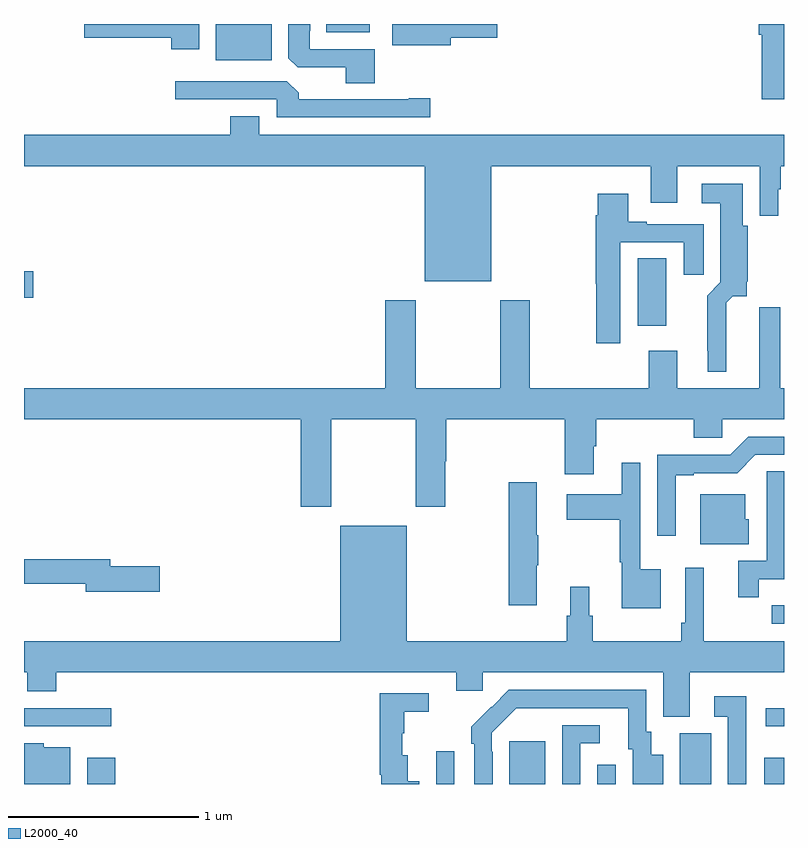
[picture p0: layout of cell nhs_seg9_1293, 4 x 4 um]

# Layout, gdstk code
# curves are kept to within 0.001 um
import gdstk
lib = gdstk.Library(unit=1e-6, precision=1e-09)
def R(c, l, rs):  # rectangles x0, y0, x1, y1
    for r in rs: c.add(gdstk.rectangle(r[:2], r[2:], *l))
def P(c, l, *ps):  # polygons
    for p in ps: c.add(gdstk.Polygon(p, *l))
L2000_40 = (2000, 40)

nhs_seg9_1293 = lib.new_cell('nhs_seg9_1293')
R(nhs_seg9_1293, L2000_40, [(183.332,1194.5,183.479,1194.637), (185.169,1194.5,185.265,1194.673), (185.555,1194.5,185.743,1194.724), (186.018,1194.5,186.114,1194.601), (186.452,1194.5,186.616,1194.768), (186.896,1194.5,187,1194.637), (183,1194.804,183.46,1194.9), (186.903,1194.804,187,1194.9), (186.936,1195.344,187,1195.44), (186.23,1196.913,186.379,1197.266), (183,1197.058,183.049,1197.2), (184.01,1198.31,184.303,1198.5), (184.592,1198.457,184.819,1198.5)])
P(nhs_seg9_1293, L2000_40, [(184.847,1198.368),(184.503,1198.368),(184.503,1198.465),(184.507,1198.465),(184.507,1198.5),(184.391,1198.5),(184.391,1198.321),(184.44,1198.272),(184.694,1198.272),(184.694,1198.189),(184.847,1198.189)],
  [(185.245,1198.427),(185.491,1198.427),(185.491,1198.5),(184.938,1198.5),(184.938,1198.388),(185.245,1198.388)],
  [(187,1198.5),(186.866,1198.5),(186.866,1198.443),(186.884,1198.443),(186.884,1198.104),(187,1198.104)],
  [(183.922,1198.5),(183.318,1198.5),(183.318,1198.427),(183.776,1198.427),(183.776,1198.368),(183.922,1198.368)],
  [(185.137,1198.109),(185.024,1198.109),(185.024,1198.104),(184.445,1198.104),(184.445,1198.138),(184.383,1198.2),(183.795,1198.2),(183.795,1198.104),(184.329,1198.104),(184.329,1198.008),(185.137,1198.008)],
  [(185.458,1197.752),(186.299,1197.752),(186.299,1197.558),(186.439,1197.558),(186.439,1197.752),(186.873,1197.752),(186.873,1197.492),(186.97,1197.492),(186.97,1197.63),(186.982,1197.63),(186.982,1197.752),(187,1197.752),(187,1197.916),(184.237,1197.916),(184.237,1198.015),(184.085,1198.015),(184.085,1197.916),(183,1197.916),(183,1197.752),(185.108,1197.752),(185.108,1197.146),(185.458,1197.146)],
  [(186.697,1197.032),(186.73,1197.066),(186.804,1197.066),(186.804,1197.141),(186.81,1197.147),(186.809,1197.438),(186.784,1197.438),(186.784,1197.658),(186.567,1197.658),(186.567,1197.557),(186.665,1197.557),(186.665,1197.14),(186.595,1197.07),(186.595,1196.779),(186.599,1196.779),(186.599,1196.669),(186.697,1196.669)],
  [(186.139,1197.351),(186.473,1197.351),(186.473,1197.18),(186.577,1197.18),(186.577,1197.447),(186.277,1197.447),(186.277,1197.46),(186.181,1197.46),(186.181,1197.607),(186.02,1197.607),(186.02,1197.494),(186.008,1197.494),(186.008,1197.132),(186.013,1197.132),(186.013,1196.82),(186.139,1196.82)],
  [(184.617,1196.42),(185.062,1196.42),(185.062,1195.959),(185.217,1195.959),(185.217,1196.198),(185.222,1196.198),(185.222,1196.42),(185.846,1196.42),(185.846,1196.13),(185.998,1196.13),(185.998,1196.278),(186.011,1196.278),(186.011,1196.42),(186.524,1196.42),(186.524,1196.322),(186.675,1196.322),(186.675,1196.42),(187,1196.42),(187,1196.584),(186.979,1196.584),(186.979,1197.01),(186.869,1197.01),(186.869,1196.584),(186.439,1196.584),(186.439,1196.779),(186.287,1196.779),(186.287,1196.584),(185.661,1196.584),(185.661,1197.046),(185.506,1197.046),(185.506,1196.584),(185.061,1196.584),(185.061,1197.046),(184.901,1197.046),(184.901,1196.584),(183,1196.584),(183,1196.42),(184.457,1196.42),(184.457,1195.959),(184.617,1195.959)],
  [(186.43,1196.124),(186.526,1196.124),(186.526,1196.136),(186.753,1196.136),(186.849,1196.232),(187,1196.232),(187,1196.328),(186.813,1196.328),(186.717,1196.232),(186.333,1196.232),(186.333,1195.806),(186.43,1195.806)],
  [(186.352,1195.63),(186.243,1195.63),(186.243,1196.191),(186.146,1196.191),(186.146,1196.026),(185.856,1196.026),(185.856,1195.892),(186.135,1195.892),(186.135,1195.668),(186.146,1195.668),(186.146,1195.424),(186.352,1195.424)],
  [(186.866,1195.578),(187,1195.578),(187,1196.147),(186.909,1196.147),(186.909,1196.036),(186.908,1196.036),(186.908,1195.674),(186.758,1195.674),(186.758,1195.482),(186.866,1195.482)],
  [(185.698,1195.652),(185.706,1195.652),(185.706,1195.808),(185.698,1195.808),(185.698,1196.089),(185.552,1196.089),(185.552,1195.44),(185.698,1195.44)],
  [(186.814,1195.893),(186.796,1195.893),(186.796,1196.026),(186.56,1196.026),(186.56,1195.763),(186.814,1195.763)],
  [(186.505,1195.088),(187,1195.088),(187,1195.252),(186.578,1195.252),(186.578,1195.639),(186.48,1195.639),(186.48,1195.348),(186.46,1195.348),(186.46,1195.252),(185.993,1195.252),(185.993,1195.386),(185.974,1195.386),(185.974,1195.537),(185.876,1195.537),(185.876,1195.386),(185.857,1195.386),(185.857,1195.252),(185.014,1195.252),(185.014,1195.858),(184.664,1195.858),(184.664,1195.252),(183,1195.252),(183,1195.088),(183.017,1195.088),(183.017,1194.989),(183.17,1194.989),(183.17,1195.088),(185.276,1195.088),(185.276,1194.99),(185.415,1194.99),(185.415,1195.088),(186.365,1195.088),(186.365,1194.853),(186.505,1194.853)],
  [(183.715,1195.646),(183.454,1195.646),(183.454,1195.682),(183,1195.682),(183,1195.554),(183.326,1195.554),(183.326,1195.511),(183.715,1195.511)],
  [(185.466,1194.671),(185.463,1194.671),(185.463,1194.771),(185.592,1194.9),(186.179,1194.9),(186.179,1194.684),(186.203,1194.684),(186.203,1194.5),(186.364,1194.5),(186.364,1194.655),(186.301,1194.655),(186.301,1194.774),(186.276,1194.774),(186.276,1194.996),(185.552,1194.996),(185.355,1194.801),(185.355,1194.713),(185.37,1194.713),(185.37,1194.5),(185.466,1194.5)],
  [(185.08,1194.514),(185.02,1194.514),(185.02,1194.652),(184.991,1194.652),(184.991,1194.767),(185.002,1194.767),(185.002,1194.88),(185.131,1194.88),(185.131,1194.978),(184.873,1194.978),(184.873,1194.548),(184.88,1194.548),(184.88,1194.5),(185.08,1194.5)],
  [(186.801,1194.961),(186.633,1194.961),(186.633,1194.855),(186.705,1194.855),(186.705,1194.5),(186.801,1194.5)],
  [(185.928,1194.714),(186.031,1194.714),(186.031,1194.81),(185.832,1194.81),(185.832,1194.5),(185.928,1194.5)],
  [(183.244,1194.694),(183.105,1194.694),(183.105,1194.715),(183,1194.715),(183,1194.5),(183.244,1194.5)])

lib.write_gds('nhs_seg9_1293.gds')
